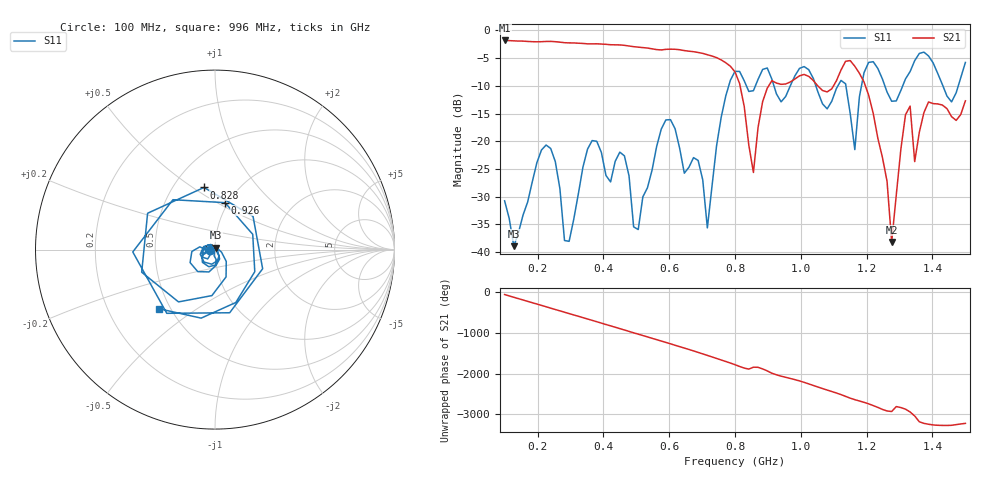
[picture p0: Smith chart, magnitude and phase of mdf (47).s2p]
! NanoVNA-App
! Date: 2025-09-25 15:38:47
! Start: 100MHz Stop: 1,5GHz Points: 101
! S-Parameter data: F S11 S21 S12 S22
# Hz S RI R 50
!  Frequency  S11_Real  S11_Imag  S21_Real  S21_Imag  S12_Real  S12_Imag  S22_Real  S22_Imag
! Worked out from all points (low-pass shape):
!   101 points, 100 MHz to 1.5 GHz, reference 50 ohm
!   highest |S21| = -1.80 dB at 100 MHz (marker M1); lowest = -38.2 dB at 1.276 GHz (marker M2)
!   |S21| within 3 dB of the highest: start of sweep to 739.2 MHz
!   lowest |S11| = -38.9 dB at 128 MHz (marker M3), VSWR 1.02, Z = 50.3 + j1.08 ohm
!   |S11| at or under -10 dB: start of sweep to 781 MHz; 1.046 GHz to 1.113 GHz (67.04 MHz wide, 6.21 % of centre); 1.255 GHz to 1.31 GHz (54.24 MHz wide, 4.23 % of centre) (the widest 3 of 7)
!   S12 and S22 are empty: the file has one direction only
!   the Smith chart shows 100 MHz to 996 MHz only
!   S11 on the Smith chart (normalised r, x): 100 MHz: 0.94, -0.01; 828 MHz: 0.70, +0.56; 926 MHz: 0.97, +0.54; 996 MHz: 0.43, -0.36
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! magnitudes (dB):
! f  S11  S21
! 100 MHz  -30.8  -1.8
! 128 MHz  -38.9  -1.9
! 212 MHz  -21.6  -2.0
! 282 MHz  -37.9  -2.2
! 338 MHz  -24.7  -2.3
! 464 MHz  -22.6  -2.7
! 506 MHz  -35.9  -3.0
! 576 MHz  -17.8  -3.5
! 716 MHz  -35.6  -4.4
! 800 MHz  -7.4  -7.5
! 828 MHz  -9.1  -13.7
! 856 MHz  -10.9  -25.6
! 926 MHz  -11.5  -9.5
! 996 MHz  -6.8  -8.2
! 1.038 GHz  -8.7  -9.0
! 1.136 GHz  -9.6  -5.6
! 1.164 GHz  -21.5  -6.5
! 1.192 GHz  -7.6  -9.3
! 1.276 GHz  -12.8  -38.2
! 1.318 GHz  -8.7  -15.2
! 1.346 GHz  -5.4  -23.7
! 1.5 GHz  -5.8  -12.7
